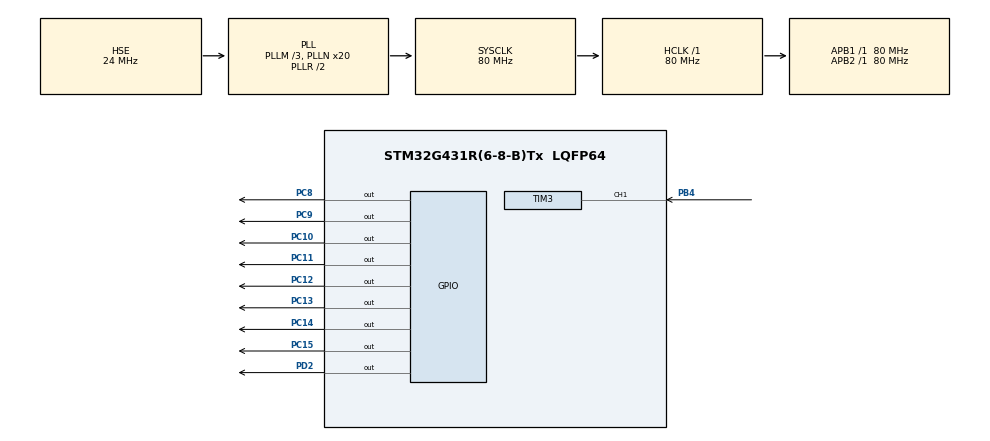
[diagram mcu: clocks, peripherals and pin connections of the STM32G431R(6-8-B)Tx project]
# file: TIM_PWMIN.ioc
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Mcu.Family=STM32G4
Mcu.Name=STM32G431R(6-8-B)Tx
Mcu.Package=LQFP64
NVIC.PriorityGroup=NVIC_PRIORITYGROUP_4
NVIC.TIM3_IRQn=true\:0\:0\:false\:false\:true\:true\:true
PA13.Mode=Serial_Wire
PA13.Signal=SYS_JTMS-SWDIO
PA14.Mode=Serial_Wire
PA14.Signal=SYS_JTCK-SWCLK
PB4.Signal=S_TIM3_CH1
PC10.Signal=GPIO_Output
PC11.Signal=GPIO_Output
PC12.Signal=GPIO_Output
PC13.Signal=GPIO_Output
PC14-OSC32_IN.Signal=GPIO_Output
PC15-OSC32_OUT.Signal=GPIO_Output
PC8.Signal=GPIO_Output
PC9.Signal=GPIO_Output
PD2.Signal=GPIO_Output
PF0-OSC_IN.Mode=HSE-External-Oscillator
PF0-OSC_IN.Signal=RCC_OSC_IN
PF1-OSC_OUT.Mode=HSE-External-Oscillator
PF1-OSC_OUT.Signal=RCC_OSC_OUT
ProjectManager.HeapSize=0x200
ProjectManager.StackSize=0x400
ProjectManager.TargetToolchain=MDK-ARM V5.27
RCC.ADC12Freq_Value=80000000
RCC.AHBFreq_Value=80000000
RCC.APB1Freq_Value=80000000
RCC.APB1TimFreq_Value=80000000
RCC.APB2Freq_Value=80000000
RCC.APB2TimFreq_Value=80000000
RCC.CortexFreq_Value=80000000
RCC.EXTERNAL_CLOCK_VALUE=12288000
RCC.HCLKFreq_Value=80000000
RCC.HSE_VALUE=24000000
RCC.HSI48_VALUE=48000000
RCC.HSI_VALUE=16000000
RCC.LSE_VALUE=32768
RCC.PLLM=RCC_PLLM_DIV3
RCC.PLLN=20
RCC.PLLSourceVirtual=RCC_PLLSOURCE_HSE
RCC.SYSCLKFreq_VALUE=80000000
RCC.SYSCLKSource=RCC_SYSCLKSOURCE_PLLCLK
RCC.USBFreq_Value=80000000
RCC.VCOOutputFreq_Value=160000000
SH.S_TIM3_CH1.0=TIM3_CH1,PWM_Input_1
TIM3.AutoReloadPreload=TIM_AUTORELOAD_PRELOAD_ENABLE
TIM3.PeriodNoDither=65535
TIM3.Prescaler=79
VP_SYS_VS_DBSignals.Mode=DisableDeadBatterySignals
board=custom

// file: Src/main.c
/* USER CODE BEGIN Header */
/**
  ******************************************************************************
  * @file           : main.c
  * @brief          : Main program body
  ******************************************************************************
  * @attention
  *
  * <h2><center>&copy; Copyright (c) 2023 STMicroelectronics.
  * All rights reserved.</center></h2>
  *
  * This software component is licensed by ST under BSD 3-Clause license,
  * the "License"; You may not use this file except in compliance with the
  * License. You may obtain a copy of the License at:
  *                        opensource.org/licenses/BSD-3-Clause
  *
  ******************************************************************************
  */
/* USER CODE END Header */

#include "main.h"
#include "tim.h"
#include "gpio.h"

/* USER CODE BEGIN Includes */
#include "lcd_hal.h"
#include "stdio.h"
/* USER CODE END Includes */

/* USER CODE BEGIN PV */
char Lcd_Line1[20];
char Lcd_Line2[20];

uint16_t Freq_Value=0;
uint16_t Freq=0;
uint16_t Duty_Value=0;
uint16_t Duty=0;

/* USER CODE END PV */

void SystemClock_Config(void);

/* USER CODE BEGIN 0 */
void HAL_TIM_IC_CaptureCallback(TIM_HandleTypeDef *htim)
{
	Freq_Value=HAL_TIM_ReadCapturedValue(&htim3,TIM_CHANNEL_1);
	Freq = 1000000/Freq_Value;

	Duty_Value=HAL_TIM_ReadCapturedValue(&htim3,TIM_CHANNEL_2);
	Duty=Duty_Value*100/Freq_Value;
}
/* USER CODE END 0 */

int main(void)
{

  /* MCU Configuration--------------------------------------------------------*/

  /* Reset of all peripherals, Initializes the Flash interface and the Systick. */
  HAL_Init();

  /* Configure the system clock */
  SystemClock_Config();

  /* Initialize all configured peripherals */
  MX_GPIO_Init();
  MX_TIM3_Init();
  /* USER CODE BEGIN 2 */
  HAL_TIM_IC_Start_IT(&htim3, TIM_CHANNEL_1);
  HAL_TIM_IC_Start_IT(&htim3, TIM_CHANNEL_2);
  LCD_Init();
  LCD_Clear(Black);
  LCD_SetTextColor(White);
  LCD_SetBackColor(Black);
  LCD_DisplayStringLine(Line0, "TIM PWNMIN TEST");
  /* USER CODE END 2 */

  /* Infinite loop */
  /* USER CODE BEGIN WHILE */
  while (1)
  {
	sprintf(Lcd_Line1,"FREQ:%dHz",Freq);
	sprintf(Lcd_Line2,"DUTY:%d%%",Duty);
	LCD_DisplayStringLine(Line1, (uint8_t*)Lcd_Line1);
	LCD_DisplayStringLine(Line2, (uint8_t*)Lcd_Line2);
	HAL_Delay(50);
    /* USER CODE END WHILE */

  }
}

void SystemClock_Config(void)
{
  RCC_OscInitTypeDef RCC_OscInitStruct = {0};
  RCC_ClkInitTypeDef RCC_ClkInitStruct = {0};

  /** Configure the main internal regulator output voltage
  */
  HAL_PWREx_ControlVoltageScaling(PWR_REGULATOR_VOLTAGE_SCALE1);
  /** Initializes the CPU, AHB and APB busses clocks
  */
  RCC_OscInitStruct.OscillatorType = RCC_OSCILLATORTYPE_HSE;
  RCC_OscInitStruct.HSEState = RCC_HSE_ON;
  RCC_OscInitStruct.PLL.PLLState = RCC_PLL_ON;
  RCC_OscInitStruct.PLL.PLLSource = RCC_PLLSOURCE_HSE;
  RCC_OscInitStruct.PLL.PLLM = RCC_PLLM_DIV3;
  RCC_OscInitStruct.PLL.PLLN = 20;
  RCC_OscInitStruct.PLL.PLLP = RCC_PLLP_DIV2;
  RCC_OscInitStruct.PLL.PLLQ = RCC_PLLQ_DIV2;
  RCC_OscInitStruct.PLL.PLLR = RCC_PLLR_DIV2;
  if (HAL_RCC_OscConfig(&RCC_OscInitStruct) != HAL_OK)
  {
    Error_Handler();
  }
  /** Initializes the CPU, AHB and APB busses clocks
  */
  RCC_ClkInitStruct.ClockType = RCC_CLOCKTYPE_HCLK|RCC_CLOCKTYPE_SYSCLK
                              |RCC_CLOCKTYPE_PCLK1|RCC_CLOCKTYPE_PCLK2;
  RCC_ClkInitStruct.SYSCLKSource = RCC_SYSCLKSOURCE_PLLCLK;
  RCC_ClkInitStruct.AHBCLKDivider = RCC_SYSCLK_DIV1;
  RCC_ClkInitStruct.APB1CLKDivider = RCC_HCLK_DIV1;
  RCC_ClkInitStruct.APB2CLKDivider = RCC_HCLK_DIV1;

  if (HAL_RCC_ClockConfig(&RCC_ClkInitStruct, FLASH_LATENCY_3) != HAL_OK)
  {
    Error_Handler();
  }
}

void Error_Handler(void)
{
}

/************************ (C) COPYRIGHT STMicroelectronics *****END OF FILE****/
